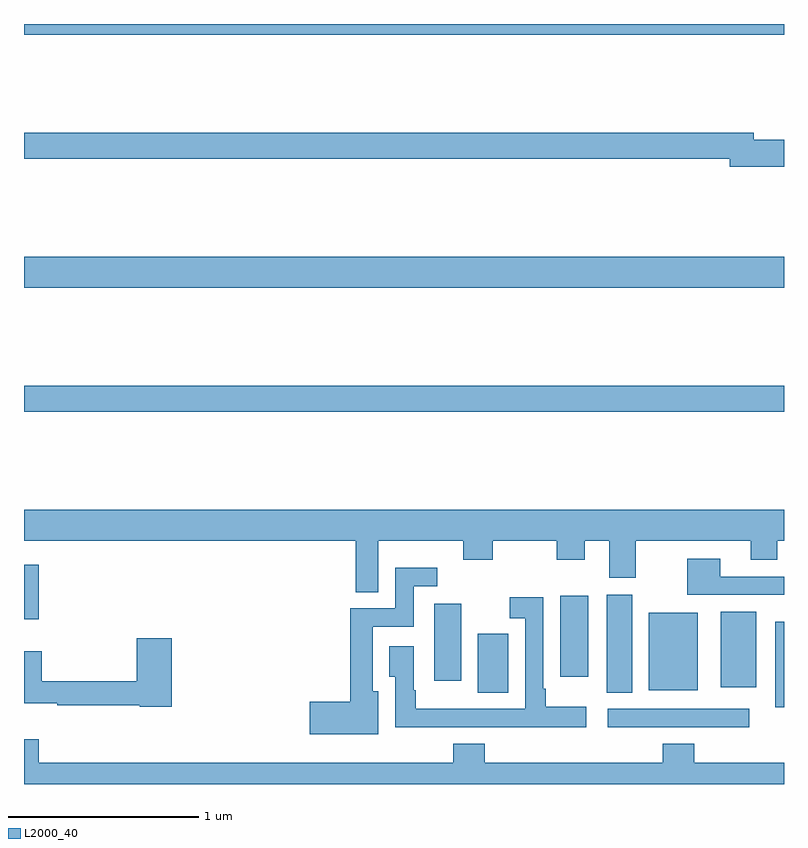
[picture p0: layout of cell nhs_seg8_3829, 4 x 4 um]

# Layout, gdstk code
import gdstk
lib = gdstk.Library(unit=1e-6, precision=1e-09)
def R(c, l, rs):  # rectangles x0, y0, x1, y1
    for r in rs: c.add(gdstk.rectangle(r[:2], r[2:], *l))
def P(c, l, *ps):  # polygons
    for p in ps: c.add(gdstk.Polygon(p, *l))
L2000_40 = (2000, 40)

nhs_seg8_3829 = lib.new_cell('nhs_seg8_3829')
R(nhs_seg8_3829, L2000_40, [(350.073,1102.2,350.818,1102.296), (350.954,1102.305,351,1102.753), (349.388,1102.381,349.549,1102.692), (350.066,1102.381,350.2,1102.897), (350.288,1102.394,350.545,1102.801), (350.666,1102.409,350.854,1102.807), (349.16,1102.443,349.3,1102.849), (349.823,1102.464,349.969,1102.891), (347,1102.766,347.078,1103.053), (347,1103.86,351,1103.996), (347,1104.512,351,1104.676), (347,1105.844,351,1105.9)])
P(nhs_seg8_3829, L2000_40, [(351,1105.292),(350.842,1105.292),(350.842,1105.328),(347,1105.328),(347,1105.192),(350.714,1105.192),(350.714,1105.15),(351,1105.15)],
  [(348.865,1103.18),(349.312,1103.18),(349.312,1103.081),(349.467,1103.081),(349.467,1103.18),(349.804,1103.18),(349.804,1103.081),(349.951,1103.081),(349.951,1103.18),(350.081,1103.18),(350.081,1102.986),(350.221,1102.986),(350.221,1103.18),(350.825,1103.18),(350.825,1103.081),(350.965,1103.081),(350.965,1103.18),(351,1103.18),(351,1103.344),(347,1103.344),(347,1103.18),(348.747,1103.18),(348.747,1102.909),(348.865,1102.909)],
  [(351,1102.992),(350.665,1102.992),(350.665,1103.086),(350.492,1103.086),(350.492,1102.896),(351,1102.896)],
  [(348.865,1102.387),(348.835,1102.387),(348.835,1102.728),(349.05,1102.728),(349.05,1102.941),(349.174,1102.941),(349.174,1103.038),(348.954,1103.038),(348.954,1102.824),(348.717,1102.824),(348.717,1102.334),(348.504,1102.334),(348.504,1102.163),(348.865,1102.163)],
  [(349.175,1102.2),(349.541,1102.2),(349.541,1102.199),(349.96,1102.199),(349.96,1102.306),(349.747,1102.306),(349.747,1102.402),(349.734,1102.402),(349.734,1102.882),(349.557,1102.882),(349.557,1102.773),(349.638,1102.773),(349.638,1102.296),(349.292,1102.296),(349.292,1102.297),(349.063,1102.297),(349.063,1102.393),(349.05,1102.393),(349.05,1102.624),(348.923,1102.624),(348.923,1102.465),(348.954,1102.465),(348.954,1102.199),(349.175,1102.199)],
  [(347.777,1102.666),(347.594,1102.666),(347.594,1102.442),(347.093,1102.442),(347.093,1102.6),(347,1102.6),(347,1102.325),(347.176,1102.325),(347.176,1102.314),(347.61,1102.314),(347.61,1102.306),(347.777,1102.306)],
  [(350.528,1102.111),(350.363,1102.111),(350.363,1102.012),(349.424,1102.012),(349.424,1102.111),(349.259,1102.111),(349.259,1102.012),(347.078,1102.012),(347.078,1102.136),(347,1102.136),(347,1101.9),(351,1101.9),(351,1102.012),(350.528,1102.012)])

lib.write_gds('nhs_seg8_3829.gds')
